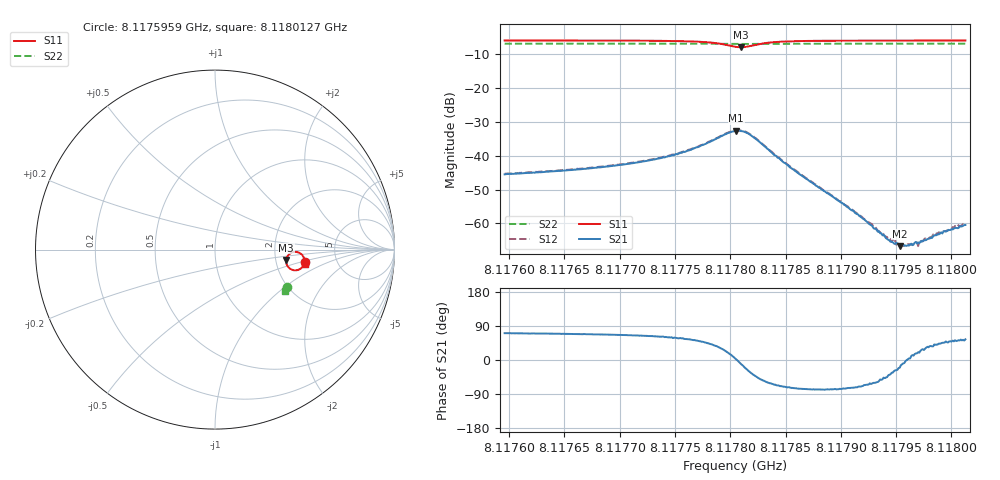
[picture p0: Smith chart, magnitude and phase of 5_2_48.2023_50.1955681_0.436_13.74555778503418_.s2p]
#  HZ  S  RI  R  50.00
! Rohde & Schwarz Vector Network Analyzer
! Rohde-Schwarz,ZNB20-2Port,1311601062101988,3.16
! Created: UTC 3/20/2024, 11:36:12 AM
! freq[Hz]  re:S11  im:S11  re:S21  im:S21  re:S12  im:S12  re:S22  im:S22
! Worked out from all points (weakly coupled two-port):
!   401 points, 8.1175959 GHz to 8.1180127 GHz, reference 50 ohm
!   highest |S21| = -32.59 dB at 8.1178054 GHz (marker M1); lowest = -66.7 dB at 8.1179533 GHz (marker M2)
!   lowest |S11| = -7.9 dB at 8.1178095 GHz (marker M3), VSWR 2.34, Z = 114 - j15.6 ohm
!   |S11| at or under -10 dB: nowhere
!   |S22| runs from -7.0 to -6.9 dB; largest |S21 - S12| = 0.00063
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8.11759594e9  0.5003 -0.0672  0.00175 0.00502  0.00186 0.00512  0.4016 -0.2084
8.11766575e9  0.4979 -0.0768  0.00234 0.00591  0.00242 0.006  0.3994 -0.2129
8.11770117e9  0.4955 -0.0836  0.00298 0.00674  0.00309 0.00677  0.3982 -0.2153
8.11773555e9  0.4899 -0.093  0.0043 0.00806  0.00445 0.00818  0.3969 -0.2177
8.11775118e9  0.4849 -0.0992  0.0056 0.00904  0.00571 0.0091  0.3961 -0.2189
8.11776889e9  0.4739 -0.1081  0.00824 0.0103  0.00838 0.0104  0.3948 -0.2201
8.11779182e9  0.4344 -0.1138  0.0168 0.00991  0.0171 0.00985  0.3922 -0.2213
8.11780432e9  0.3997 -0.0831  0.0231 0.00175  0.0237 0.00166  0.3906 -0.2202
8.11780536e9  0.398 -0.0782  0.0235 0.000759  0.0238 0.000637  0.3907 -0.22
8.11780953e9  0.3964 -0.0574  0.0228 -0.00395  0.0234 -0.00399  0.3907 -0.2194
8.11781474e9  0.4064 -0.0332  0.0199 -0.00886  0.0204 -0.00923  0.3913 -0.2187
8.11782099e9  0.4283 -0.0166  0.0146 -0.0119  0.015 -0.0122  0.3923 -0.2185
8.11784183e9  0.4788 -0.0235  0.00389 -0.00905  0.00387 -0.00929  0.394 -0.2207
8.11787413e9  0.4958 -0.0468  0.000838 -0.0039  0.00082 -0.00398  0.3934 -0.2238
8.11791372e9  0.4991 -0.061  0.000446 -0.00133  0.000464 -0.00138  0.3922 -0.2269
8.11794393e9  0.4995 -0.0675  0.000437 -0.000353  0.000456 -0.000388  0.3912 -0.229
8.11795331e9  0.4996 -0.0693  0.000434 -0.000161  0.000433 -0.000181  0.3909 -0.2296
8.11795956e9  0.4995 -0.0702  0.000466 -4.37e-06  0.00047 -2.4e-05  0.3907 -0.23
8.1179679e9  0.4993 -0.0715  0.000509 0.000159  0.000496 0.000143  0.3904 -0.2306
8.11798873e9  0.4993 -0.0747  0.000503 0.000476  0.000564 0.000482  0.3896 -0.2318
8.1180054e9  0.499 -0.0768  0.000541 0.000658  0.000552 0.000703  0.3891 -0.233
8.1180127e9  0.499 -0.0778  0.00055 0.000773  0.00057 0.000752  0.3889 -0.2334
